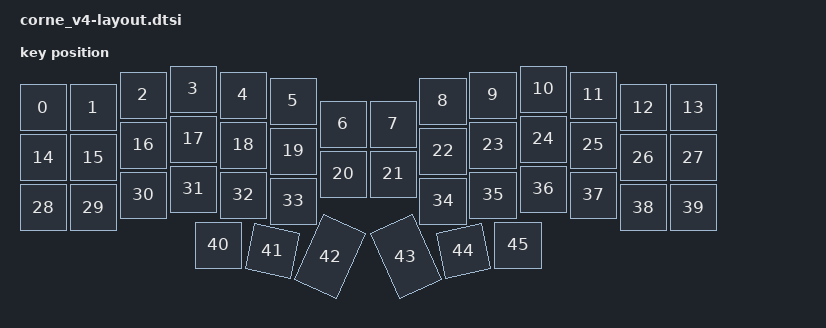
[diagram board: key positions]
/*
 * Physical layout for the Corne v4 "ex2" — 46 positions.
 *
 * foostan ships the v4 in two populations: the plain 3x6+3, which is 42 keys
 * and which ZMK's own layouts/foostan/corne/6column.dtsi already describes, and
 * the ex2, which adds a two-key column at the inner edge of each half. This
 * unit is an ex2 (jjb, 2026-08-29), and the 23 LEDs a half in foostan's own
 * info.json agree: 21 keycaps plus the two expansion positions.
 *
 * Coordinates are the stock 6column ones unchanged, so the 42 shared positions
 * sit exactly where they do on every other Corne. The four new keys go in the
 * gap between the halves that the stock layout leaves empty (x 600 and 700),
 * stepped down a little because they sit below the encoder rather than in line
 * with the top row.
 *
 * On this hardware the upper expansion key of each half is the push switch
 * under that half's rotary encoder; the lower one is an ordinary keycap.
 *
 * SPDX-License-Identifier: MIT
 */

#include <physical_layouts.dtsi>

/ {
    corne_v4_layout: corne_v4_layout {
        compatible = "zmk,physical-layout";
        display-name = "Corne v4 ex2";

        keys  //                     w   h    x    y     rot    rx    ry
            /* top row, left */
            = <&key_physical_attrs 100 100    0   37       0     0     0>
            , <&key_physical_attrs 100 100  100   37       0     0     0>
            , <&key_physical_attrs 100 100  200   12       0     0     0>
            , <&key_physical_attrs 100 100  300    0       0     0     0>
            , <&key_physical_attrs 100 100  400   12       0     0     0>
            , <&key_physical_attrs 100 100  500   24       0     0     0>
            /* expansion, upper: left then right (under the encoders) */
            , <&key_physical_attrs 100 100  600   70       0     0     0>
            , <&key_physical_attrs 100 100  700   70       0     0     0>
            /* top row, right */
            , <&key_physical_attrs 100 100  800   24       0     0     0>
            , <&key_physical_attrs 100 100  900   12       0     0     0>
            , <&key_physical_attrs 100 100 1000    0       0     0     0>
            , <&key_physical_attrs 100 100 1100   12       0     0     0>
            , <&key_physical_attrs 100 100 1200   37       0     0     0>
            , <&key_physical_attrs 100 100 1300   37       0     0     0>

            /* home row, left */
            , <&key_physical_attrs 100 100    0  137       0     0     0>
            , <&key_physical_attrs 100 100  100  137       0     0     0>
            , <&key_physical_attrs 100 100  200  112       0     0     0>
            , <&key_physical_attrs 100 100  300  100       0     0     0>
            , <&key_physical_attrs 100 100  400  112       0     0     0>
            , <&key_physical_attrs 100 100  500  124       0     0     0>
            /* expansion, lower: left then right */
            , <&key_physical_attrs 100 100  600  170       0     0     0>
            , <&key_physical_attrs 100 100  700  170       0     0     0>
            /* home row, right */
            , <&key_physical_attrs 100 100  800  124       0     0     0>
            , <&key_physical_attrs 100 100  900  112       0     0     0>
            , <&key_physical_attrs 100 100 1000  100       0     0     0>
            , <&key_physical_attrs 100 100 1100  112       0     0     0>
            , <&key_physical_attrs 100 100 1200  137       0     0     0>
            , <&key_physical_attrs 100 100 1300  137       0     0     0>

            /* bottom row */
            , <&key_physical_attrs 100 100    0  237       0     0     0>
            , <&key_physical_attrs 100 100  100  237       0     0     0>
            , <&key_physical_attrs 100 100  200  212       0     0     0>
            , <&key_physical_attrs 100 100  300  200       0     0     0>
            , <&key_physical_attrs 100 100  400  212       0     0     0>
            , <&key_physical_attrs 100 100  500  224       0     0     0>
            , <&key_physical_attrs 100 100  800  224       0     0     0>
            , <&key_physical_attrs 100 100  900  212       0     0     0>
            , <&key_physical_attrs 100 100 1000  200       0     0     0>
            , <&key_physical_attrs 100 100 1100  212       0     0     0>
            , <&key_physical_attrs 100 100 1200  237       0     0     0>
            , <&key_physical_attrs 100 100 1300  237       0     0     0>

            /* thumbs */
            , <&key_physical_attrs 100 100  350  312       0     0     0>
            , <&key_physical_attrs 100 100  450  312    1200   450   412>
            , <&key_physical_attrs 100 150  548  283    2400   548   433>
            , <&key_physical_attrs 100 150  752  283  (-2400)  852   433>
            , <&key_physical_attrs 100 100  850  312  (-1200)  950   412>
            , <&key_physical_attrs 100 100  950  312       0     0     0>
        ;
    };
};
